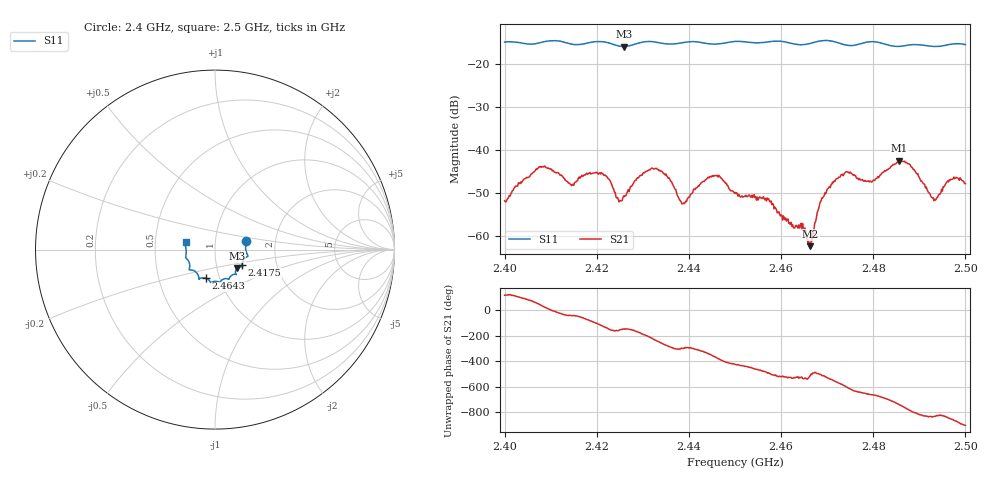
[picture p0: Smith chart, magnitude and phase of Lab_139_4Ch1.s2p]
# Hz S RI R 50
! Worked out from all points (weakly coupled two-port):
!   601 points, 2.4 GHz to 2.5 GHz, reference 50 ohm
!   highest |S21| = -42.52 dB at 2.4857 GHz (marker M1); lowest = -62.4 dB at 2.4663 GHz (marker M2)
!   lowest |S11| = -15.9 dB at 2.4258 GHz (marker M3), VSWR 1.38, Z = 62.3 - j13.3 ohm
!   |S11| at or under -10 dB: start of sweep to end of sweep
!   S12 and S22 are empty: the file has one direction only
!   S11 on the Smith chart (normalised r, x): 2.4 GHz: 1.41, +0.14; 2.4175 GHz: 1.33, -0.23; 2.4643 GHz: 0.86, -0.28; 2.5 GHz: 0.72, +0.06
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2.4e9  0.1741 0.0476  -0.00119 0.00226  0 0  0 0
2.407833e9  0.1769 -0.02  0.00487 0.00418  0 0  0 0
2.4145e9  0.1631 -0.0515  0.00287 -0.00254  0 0  0 0
2.416667e9  0.1525 -0.0752  0.00276 -0.00403  0 0  0 0
2.4175e9  0.1513 -0.0846  0.00193 -0.00472  0 0  0 0
2.4215e9  0.1534 -0.0969  -0.00317 -0.00396  0 0  0 0
2.425833e9  0.1216 -0.1039  -0.00249 -0.00152  0 0  0 0
2.433333e9  0.1128 -0.1376  -0.00244 0.00539  0 0  0 0
2.438667e9  0.0799 -0.1588  0.00123 0.00202  0 0  0 0
2.445167e9  0.0536 -0.1621  0.00503 0.000154  0 0  0 0
2.45e9  0.0278 -0.1813  0.0013 -0.00283  0 0  0 0
2.457167e9  -0.0161 -0.1805  -0.00193 -0.00187  0 0  0 0
2.464333e9  -0.0505 -0.16  -0.00136 -0.000308  0 0  0 0
2.466333e9  -0.0737 -0.1577  -0.000676 -0.000341  0 0  0 0
2.466667e9  -0.0769 -0.1584  -0.000714 -0.00049  0 0  0 0
2.468667e9  -0.0885 -0.1646  -0.00212 -0.00141  0 0  0 0
2.471667e9  -0.0889 -0.1585  -0.00411 0.00125  0 0  0 0
2.483333e9  -0.1405 -0.0888  0.00575 0.00179  0 0  0 0
2.485667e9  -0.1473 -0.0639  0.00694 -0.00281  0 0  0 0
2.493167e9  -0.1599 -0.0107  -0.00108 -0.00234  0 0  0 0
2.497e9  -0.1682 0.0289  -0.0033 -0.00309  0 0  0 0
2.5e9  -0.1629 0.0436  -0.00403 0.00038  0 0  0 0
